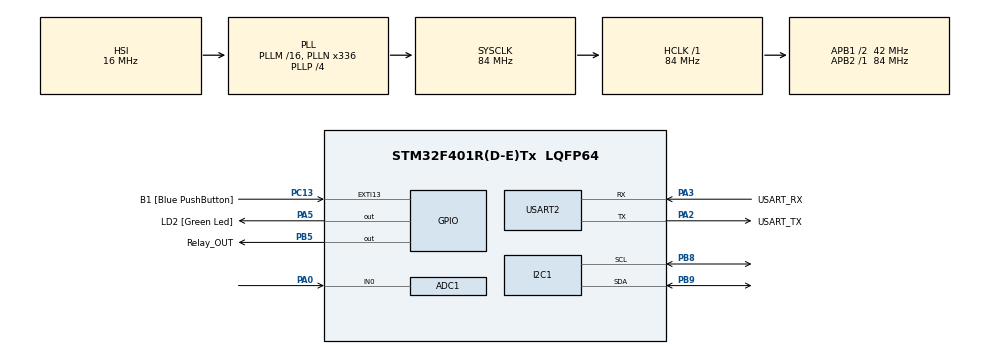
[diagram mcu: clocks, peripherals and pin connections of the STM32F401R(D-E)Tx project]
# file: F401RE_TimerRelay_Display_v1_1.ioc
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ADC1.Channel-0\#ChannelRegularConversion=ADC_CHANNEL_0
ADC1.NbrOfConversionFlag=1
ADC1.Rank-0\#ChannelRegularConversion=1
ADC1.SamplingTime-0\#ChannelRegularConversion=ADC_SAMPLETIME_3CYCLES
ADC1.master=1
Mcu.Family=STM32F4
Mcu.Name=STM32F401R(D-E)Tx
Mcu.Package=LQFP64
NVIC.PriorityGroup=NVIC_PRIORITYGROUP_0
PA0-WKUP.Signal=ADCx_IN0
PA13.GPIO_Label=TMS
PA13.Mode=Serial_Wire
PA13.Signal=SYS_JTMS-SWDIO
PA14.GPIO_Label=TCK
PA14.Mode=Serial_Wire
PA14.Signal=SYS_JTCK-SWCLK
PA2.GPIO_Label=USART_TX
PA2.GPIO_Mode=GPIO_MODE_AF_PP
PA2.GPIO_PuPd=GPIO_NOPULL
PA2.GPIO_Speed=GPIO_SPEED_FREQ_LOW
PA2.Mode=Asynchronous
PA2.Signal=USART2_TX
PA3.GPIO_Label=USART_RX
PA3.GPIO_Mode=GPIO_MODE_AF_PP
PA3.GPIO_PuPd=GPIO_NOPULL
PA3.GPIO_Speed=GPIO_SPEED_FREQ_LOW
PA3.Mode=Asynchronous
PA3.Signal=USART2_RX
PA5.GPIO_Label=LD2 [Green Led]
PA5.GPIO_Mode=GPIO_MODE_OUTPUT_PP
PA5.GPIO_PuPd=GPIO_NOPULL
PA5.GPIO_Speed=GPIO_SPEED_FREQ_LOW
PA5.Signal=GPIO_Output
PB3.GPIO_Label=SWO
PB3.Signal=SYS_JTDO-SWO
PB5.GPIO_Label=Relay_OUT
PB5.Signal=GPIO_Output
PB8.Mode=I2C
PB8.Signal=I2C1_SCL
PB9.Mode=I2C
PB9.Signal=I2C1_SDA
PC13-ANTI_TAMP.GPIO_Label=B1 [Blue PushButton]
PC13-ANTI_TAMP.GPIO_ModeDefaultEXTI=GPIO_MODE_IT_FALLING
PC13-ANTI_TAMP.GPIO_PuPd=GPIO_NOPULL
PC13-ANTI_TAMP.Signal=GPXTI13
PC14-OSC32_IN.Mode=LSE-External-Oscillator
PC14-OSC32_IN.Signal=RCC_OSC32_IN
PC15-OSC32_OUT.Mode=LSE-External-Oscillator
PC15-OSC32_OUT.Signal=RCC_OSC32_OUT
PH0\ -\ OSC_IN.Mode=HSE-External-Clock-Source
PH0\ -\ OSC_IN.Signal=RCC_OSC_IN
PH1\ -\ OSC_OUT.Mode=HSE-External-Clock-Source
PH1\ -\ OSC_OUT.Signal=RCC_OSC_OUT
ProjectManager.HeapSize=0x2000
ProjectManager.StackSize=0x4000
ProjectManager.TargetToolchain=STM32CubeIDE
RCC.48MHZClocksFreq_Value=48000000
RCC.AHBFreq_Value=84000000
RCC.APB1CLKDivider=RCC_HCLK_DIV2
RCC.APB1Freq_Value=42000000
RCC.APB1TimFreq_Value=84000000
RCC.APB2Freq_Value=84000000
RCC.APB2TimFreq_Value=84000000
RCC.CortexFreq_Value=84000000
RCC.HCLKFreq_Value=84000000
RCC.HSE_VALUE=8000000
RCC.HSI_VALUE=16000000
RCC.PLLN=336
RCC.PLLP=RCC_PLLP_DIV4
RCC.PLLQ=7
RCC.SYSCLKFreq_VALUE=84000000
RCC.SYSCLKSource=RCC_SYSCLKSOURCE_PLLCLK
RCC.VCOOutputFreq_Value=336000000
SH.ADCx_IN0.0=ADC1_IN0,IN0
USART2.VirtualMode=VM_ASYNC
board=NUCLEO-F401RE

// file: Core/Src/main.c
/* USER CODE BEGIN Header */
/**
 ******************************************************************************
 * @file           : main.c
 * @brief          : Main program body
 ******************************************************************************
 * @attention
 *
 * <h2><center>&copy; Copyright (c) 2019 STMicroelectronics.
 * All rights reserved.</center></h2>
 *
 * This software component is licensed by ST under BSD 3-Clause license,
 * the "License"; You may not use this file except in compliance with the
 * License. You may obtain a copy of the License at:
 *                        opensource.org/licenses/BSD-3-Clause
 *
 ******************************************************************************
 */
/* USER CODE END Header */

#include "main.h"

/* USER CODE BEGIN Includes */
#include "ssd1306.h"
#include "ssd1306_tests.h"
/* USER CODE END Includes */

/* USER CODE BEGIN PTD */
#ifdef __GNUC__
/* With GCC, small printf (option LD Linker->Libraries->Small printf
 set to 'Yes') calls __io_putchar() */
#define PUTCHAR_PROTOTYPE int __io_putchar(int ch)
#else
  #define PUTCHAR_PROTOTYPE int fputc(int ch, FILE *f)
#endif /* __GNUC__ */
/* USER CODE END PTD */

ADC_HandleTypeDef hadc1;

I2C_HandleTypeDef hi2c1;

UART_HandleTypeDef huart2;

/* USER CODE BEGIN PV */
int btnPressed = 0;
uint32_t adcValue;
uint32_t adcValueVect[2];
int start = 2;
int PotIndex = 0;
uint32_t myTimerValue;
uint32_t threshold;

static uint8_t whoamI;
/* USER CODE END PV */

void SystemClock_Config(void);
static void MX_GPIO_Init(void);
static void MX_USART2_UART_Init(void);
static void MX_ADC1_Init(void);
static void MX_I2C1_Init(void);
/* USER CODE BEGIN PFP */
PUTCHAR_PROTOTYPE {
	/* Place your implementation of fputc here */
	/* e.g. write a character to the EVAL_COM1 and Loop until the end of transmission */
	HAL_UART_Transmit(&huart2, (uint8_t*) &ch, 1, 0xFFFF);

	return ch;
}
/* USER CODE END PFP */

int main(void) {

	/* MCU Configuration--------------------------------------------------------*/

	/* Reset of all peripherals, Initializes the Flash interface and the Systick. */
	HAL_Init();

	/* Configure the system clock */
	SystemClock_Config();

	/* Initialize all configured peripherals */
	MX_GPIO_Init();
	MX_USART2_UART_Init();
	MX_ADC1_Init();
	MX_I2C1_Init();
	/* USER CODE BEGIN 2 */
	init();
	HAL_Delay(200);
	/* USER CODE END 2 */

	/* Infinite loop */
	while (1) {

		/* USER CODE BEGIN 3 */
		getPotentiometerValue();
		getThreshold();
		char asd[4];
		snprintf(asd, sizeof(asd), "%d", threshold);
//		ssd1306_Fill(Black);
//		ssd1306_SetCursor(2, 28);
//		ssd1306_WriteString(asd, Font_16x26, White);
//		ssd1306_UpdateScreen();

		ssd1306_Fill(Black);
		ssd1306_SetCursor(2, 0);
		ssd1306_WriteString("Value:", Font_16x26, White);
		ssd1306_SetCursor(2, 28);
		ssd1306_WriteString(asd, Font_16x26, White);
		ssd1306_UpdateScreen();

		checkBtnPressed();
	}
	/* USER CODE END 3 */
}

void SystemClock_Config(void) {
	RCC_OscInitTypeDef RCC_OscInitStruct = { 0 };
	RCC_ClkInitTypeDef RCC_ClkInitStruct = { 0 };

	/** Configure the main internal regulator output voltage
	 */
	__HAL_RCC_PWR_CLK_ENABLE();
	__HAL_PWR_VOLTAGESCALING_CONFIG(PWR_REGULATOR_VOLTAGE_SCALE2);
	/** Initializes the CPU, AHB and APB busses clocks
	 */
	RCC_OscInitStruct.OscillatorType = RCC_OSCILLATORTYPE_HSI;
	RCC_OscInitStruct.HSIState = RCC_HSI_ON;
	RCC_OscInitStruct.HSICalibrationValue = RCC_HSICALIBRATION_DEFAULT;
	RCC_OscInitStruct.PLL.PLLState = RCC_PLL_ON;
	RCC_OscInitStruct.PLL.PLLSource = RCC_PLLSOURCE_HSI;
	RCC_OscInitStruct.PLL.PLLM = 16;
	RCC_OscInitStruct.PLL.PLLN = 336;
	RCC_OscInitStruct.PLL.PLLP = RCC_PLLP_DIV4;
	RCC_OscInitStruct.PLL.PLLQ = 7;
	if (HAL_RCC_OscConfig(&RCC_OscInitStruct) != HAL_OK) {
		Error_Handler();
	}
	/** Initializes the CPU, AHB and APB busses clocks
	 */
	RCC_ClkInitStruct.ClockType = RCC_CLOCKTYPE_HCLK | RCC_CLOCKTYPE_SYSCLK
			| RCC_CLOCKTYPE_PCLK1 | RCC_CLOCKTYPE_PCLK2;
	RCC_ClkInitStruct.SYSCLKSource = RCC_SYSCLKSOURCE_PLLCLK;
	RCC_ClkInitStruct.AHBCLKDivider = RCC_SYSCLK_DIV1;
	RCC_ClkInitStruct.APB1CLKDivider = RCC_HCLK_DIV2;
	RCC_ClkInitStruct.APB2CLKDivider = RCC_HCLK_DIV1;

	if (HAL_RCC_ClockConfig(&RCC_ClkInitStruct, FLASH_LATENCY_2) != HAL_OK) {
		Error_Handler();
	}
}

static void MX_ADC1_Init(void) {

	ADC_ChannelConfTypeDef sConfig = { 0 };

	/** Configure the global features of the ADC (Clock, Resolution, Data Alignment and number of conversion)
	 */
	hadc1.Instance = ADC1;
	hadc1.Init.ClockPrescaler = ADC_CLOCK_SYNC_PCLK_DIV4;
	hadc1.Init.Resolution = ADC_RESOLUTION_12B;
	hadc1.Init.ScanConvMode = DISABLE;
	hadc1.Init.ContinuousConvMode = DISABLE;
	hadc1.Init.DiscontinuousConvMode = DISABLE;
	hadc1.Init.ExternalTrigConvEdge = ADC_EXTERNALTRIGCONVEDGE_NONE;
	hadc1.Init.ExternalTrigConv = ADC_SOFTWARE_START;
	hadc1.Init.DataAlign = ADC_DATAALIGN_RIGHT;
	hadc1.Init.NbrOfConversion = 1;
	hadc1.Init.DMAContinuousRequests = DISABLE;
	hadc1.Init.EOCSelection = ADC_EOC_SINGLE_CONV;
	if (HAL_ADC_Init(&hadc1) != HAL_OK) {
		Error_Handler();
	}
	/** Configure for the selected ADC regular channel its corresponding rank in the sequencer and its sample time.
	 */
	sConfig.Channel = ADC_CHANNEL_0;
	sConfig.Rank = 1;
	sConfig.SamplingTime = ADC_SAMPLETIME_3CYCLES;
	if (HAL_ADC_ConfigChannel(&hadc1, &sConfig) != HAL_OK) {
		Error_Handler();
	}

}

static void MX_I2C1_Init(void) {

	hi2c1.Instance = I2C1;
	hi2c1.Init.ClockSpeed = 100000;
	hi2c1.Init.DutyCycle = I2C_DUTYCYCLE_2;
	hi2c1.Init.OwnAddress1 = 0;
	hi2c1.Init.AddressingMode = I2C_ADDRESSINGMODE_7BIT;
	hi2c1.Init.DualAddressMode = I2C_DUALADDRESS_DISABLE;
	hi2c1.Init.OwnAddress2 = 0;
	hi2c1.Init.GeneralCallMode = I2C_GENERALCALL_DISABLE;
	hi2c1.Init.NoStretchMode = I2C_NOSTRETCH_DISABLE;
	if (HAL_I2C_Init(&hi2c1) != HAL_OK) {
		Error_Handler();
	}

}

static void MX_USART2_UART_Init(void) {

	huart2.Instance = USART2;
	huart2.Init.BaudRate = 115200;
	huart2.Init.WordLength = UART_WORDLENGTH_8B;
	huart2.Init.StopBits = UART_STOPBITS_1;
	huart2.Init.Parity = UART_PARITY_NONE;
	huart2.Init.Mode = UART_MODE_TX_RX;
	huart2.Init.HwFlowCtl = UART_HWCONTROL_NONE;
	huart2.Init.OverSampling = UART_OVERSAMPLING_16;
	if (HAL_UART_Init(&huart2) != HAL_OK) {
		Error_Handler();
	}

}

static void MX_GPIO_Init(void) {
	GPIO_InitTypeDef GPIO_InitStruct = { 0 };

	/* GPIO Ports Clock Enable */
	__HAL_RCC_GPIOC_CLK_ENABLE();
	__HAL_RCC_GPIOH_CLK_ENABLE();
	__HAL_RCC_GPIOA_CLK_ENABLE();
	__HAL_RCC_GPIOB_CLK_ENABLE();

	/*Configure GPIO pin Output Level */
	HAL_GPIO_WritePin(LD2_GPIO_Port, LD2_Pin, GPIO_PIN_RESET);

	/*Configure GPIO pin Output Level */
	HAL_GPIO_WritePin(Relay_OUT_GPIO_Port, Relay_OUT_Pin, GPIO_PIN_SET);

	/*Configure GPIO pin : B1_Pin */
	GPIO_InitStruct.Pin = B1_Pin;
	GPIO_InitStruct.Mode = GPIO_MODE_IT_FALLING;
	GPIO_InitStruct.Pull = GPIO_NOPULL;
	HAL_GPIO_Init(B1_GPIO_Port, &GPIO_InitStruct);

	/*Configure GPIO pin : LD2_Pin */
	GPIO_InitStruct.Pin = LD2_Pin;
	GPIO_InitStruct.Mode = GPIO_MODE_OUTPUT_PP;
	GPIO_InitStruct.Pull = GPIO_NOPULL;
	GPIO_InitStruct.Speed = GPIO_SPEED_FREQ_LOW;
	HAL_GPIO_Init(LD2_GPIO_Port, &GPIO_InitStruct);

	/*Configure GPIO pin : Relay_OUT_Pin */
	GPIO_InitStruct.Pin = Relay_OUT_Pin;
	GPIO_InitStruct.Mode = GPIO_MODE_OUTPUT_PP;
	GPIO_InitStruct.Pull = GPIO_NOPULL;
	GPIO_InitStruct.Speed = GPIO_SPEED_FREQ_LOW;
	HAL_GPIO_Init(Relay_OUT_GPIO_Port, &GPIO_InitStruct);

}

/* USER CODE BEGIN 4 */
void checkBtnPressed(void) {

	if (HAL_GPIO_ReadPin(B1_GPIO_Port, B1_Pin) == 0) {
		if (btnPressed == 0) {
			btnPressed = 1;
			//printf("Premuto!\n");
			HAL_GPIO_WritePin(Relay_OUT_GPIO_Port, Relay_OUT_Pin,
					GPIO_PIN_RESET);
			HAL_Delay(threshold);
			HAL_GPIO_WritePin(Relay_OUT_GPIO_Port, Relay_OUT_Pin, GPIO_PIN_SET);
		}
	}
	btnPressed = 0;
}

void getPotentiometerValue(void) {
	HAL_ADC_Start(&hadc1);
	adcValue = HAL_ADC_GetValue(&hadc1);

	myTimerValue = round(adcValue / 10);
	//printf("Timer Value: %d\n", myTimerValue);
}

void getThreshold(void) {

	if (myTimerValue <= 5) {
		threshold = 5;
	} else if (myTimerValue <= 10) {
		threshold = 10;
	} else if (myTimerValue <= 15) {
		threshold = 15;
	} else if (myTimerValue <= 20) {
		threshold = 20;
	} else if (myTimerValue <= 25) {
		threshold = 25;
	} else if (myTimerValue <= 30) {
		threshold = 30;
	} else if (myTimerValue <= 35) {
		threshold = 35;
	} else if (myTimerValue <= 40) {
		threshold = 40;
	} else if (myTimerValue <= 45) {
		threshold = 45;
	} else if (myTimerValue <= 50) {
		threshold = 50;
	} else if (myTimerValue <= 55) {
		threshold = 55;
	} else if (myTimerValue <= 60) {
		threshold = 60;
	} else if (myTimerValue <= 65) {
		threshold = 65;
	} else if (myTimerValue <= 70) {
		threshold = 70;
	} else if (myTimerValue <= 75) {
		threshold = 75;
	} else if (myTimerValue <= 80) {
		threshold = 80;
	} else if (myTimerValue <= 85) {
		threshold = 85;
	} else if (myTimerValue <= 90) {
		threshold = 90;
	} else if (myTimerValue <= 95) {
		threshold = 95;
	} else if (myTimerValue <= 100) {
		threshold = 100;
	} else if (myTimerValue <= 105) {
		threshold = 105;
	} else if (myTimerValue <= 110) {
		threshold = 110;
	} else if (myTimerValue <= 115) {
		threshold = 115;
	} else if (myTimerValue <= 120) {
		threshold = 120;
	} else if (myTimerValue <= 125) {
		threshold = 125;
	} else if (myTimerValue <= 130) {
		threshold = 130;
	} else if (myTimerValue <= 135) {
		threshold = 135;
	} else if (myTimerValue <= 140) {
		threshold = 140;
	} else if (myTimerValue <= 145) {
		threshold = 145;
	} else if (myTimerValue <= 150) {
		threshold = 150;
	} else if (myTimerValue <= 155) {
		threshold = 155;
	} else if (myTimerValue <= 160) {
		threshold = 160;
	} else if (myTimerValue <= 165) {
		threshold = 165;
	} else if (myTimerValue <= 170) {
		threshold = 170;
	} else if (myTimerValue <= 175) {
		threshold = 175;
	} else if (myTimerValue <= 180) {
		threshold = 180;
	} else if (myTimerValue <= 185) {
		threshold = 185;
	} else if (myTimerValue <= 190) {
		threshold = 190;
	} else if (myTimerValue <= 195) {
		threshold = 195;
	} else if (myTimerValue <= 200) {
		threshold = 200;
	} else if (myTimerValue <= 205) {
		threshold = 205;
	} else if (myTimerValue <= 210) {
		threshold = 210;
	} else if (myTimerValue <= 215) {
		threshold = 215;
	} else if (myTimerValue <= 220) {
		threshold = 220;
	} else if (myTimerValue <= 225) {
		threshold = 225;
	} else if (myTimerValue <= 230) {
		threshold = 230;
	} else if (myTimerValue <= 235) {
		threshold = 235;
	} else if (myTimerValue <= 240) {
		threshold = 240;
	} else if (myTimerValue <= 245) {
		threshold = 245;
	} else if (myTimerValue <= 250) {
		threshold = 250;
	} else if (myTimerValue <= 255) {
		threshold = 255;
	} else if (myTimerValue <= 260) {
		threshold = 260;
	} else if (myTimerValue <= 265) {
		threshold = 265;
	} else if (myTimerValue <= 270) {
		threshold = 270;
	} else if (myTimerValue <= 275) {
		threshold = 275;
	} else if (myTimerValue <= 280) {
		threshold = 280;
	} else if (myTimerValue <= 285) {
		threshold = 285;
	} else if (myTimerValue <= 290) {
		threshold = 290;
	} else if (myTimerValue <= 295) {
		threshold = 295;
	} else if (myTimerValue <= 300) {
		threshold = 300;
	} else if (myTimerValue <= 305) {
		threshold = 305;
	} else if (myTimerValue <= 310) {
		threshold = 310;
	} else if (myTimerValue <= 315) {
		threshold = 315;
	} else if (myTimerValue <= 320) {
		threshold = 320;
	} else if (myTimerValue <= 325) {
		threshold = 325;
	} else if (myTimerValue <= 330) {
		threshold = 330;
	} else if (myTimerValue <= 335) {
		threshold = 335;
	} else if (myTimerValue <= 340) {
		threshold = 340;
	} else if (myTimerValue <= 345) {
		threshold = 345;
	} else if (myTimerValue <= 350) {
		threshold = 350;
	} else if (myTimerValue <= 355) {
		threshold = 355;
	} else if (myTimerValue <= 360) {
		threshold = 360;
	} else if (myTimerValue <= 365) {
		threshold = 365;
	} else if (myTimerValue <= 370) {
		threshold = 370;
	} else if (myTimerValue <= 375) {
		threshold = 375;
	} else if (myTimerValue <= 380) {
		threshold = 380;
	} else if (myTimerValue <= 385) {
		threshold = 385;
	} else if (myTimerValue <= 390) {
		threshold = 390;
	} else if (myTimerValue <= 395) {
		threshold = 395;
	} else if (myTimerValue <= 400) {
		threshold = 400;
	} else if (myTimerValue <= 405) {
		threshold = 405;
	} else if (myTimerValue <= 410) {
		threshold = 410;
	} else if (myTimerValue <= 415) {
		threshold = 415;
	}

	//printf("threshold: %d\n", threshold);
}

void I2C_Scan() {
	//char info[] = "Scanning I2C bus...\r\n";
	//HAL_UART_Transmit(&huart2, (uint8_t*) info, strlen(info), HAL_MAX_DELAY);

	HAL_StatusTypeDef res;
	for (uint16_t i = 0; i < 128; i++) {
		res = HAL_I2C_IsDeviceReady(&hi2c1, i << 1, 1, 10);
		if (res == HAL_OK) {
			//char msg[64];
			//snprintf(msg, sizeof(msg), "0x%02X", i);
			//HAL_UART_Transmit(&huart2, (uint8_t*) msg, strlen(msg),
			//HAL_MAX_DELAY);
		} else {
			//HAL_UART_Transmit(&huart2, (uint8_t*) ".", 1, HAL_MAX_DELAY);
		}
	}

	//HAL_UART_Transmit(&huart2, (uint8_t*) "\r\n", 2, HAL_MAX_DELAY);
}

void init() {
	I2C_Scan();
	ssd1306_Init();
	//ssd1306_TestAll();
	//ssd1306_TestFonts();

	ssd1306_Fill(Black);
	ssd1306_SetCursor(2, 28);
	ssd1306_WriteString(" Hi SCM!", Font_16x26, White);
	ssd1306_UpdateScreen();
//	HAL_Delay(500);
}

/* USER CODE END 4 */

void Error_Handler(void) {
}

/************************ (C) COPYRIGHT STMicroelectronics *****END OF FILE****/
